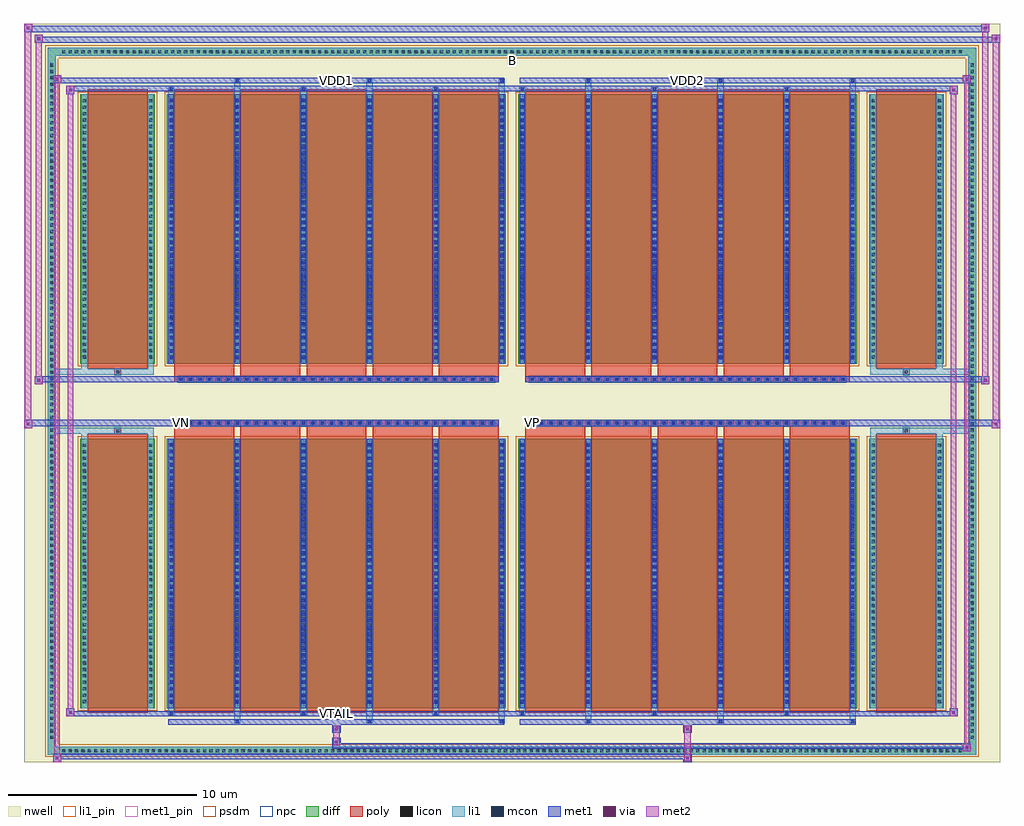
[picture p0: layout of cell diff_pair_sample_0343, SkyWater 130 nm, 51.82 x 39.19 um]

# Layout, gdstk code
import gdstk
lib = gdstk.Library(unit=1e-6, precision=5e-09)
def R(c, l, rs):  # rectangles x0, y0, x1, y1
    for r in rs: c.add(gdstk.rectangle(r[:2], r[2:], *l))
def A(c, l, x, y, w, h, nx, ny, dx, dy):  # array of equal rectangles
    R(c, l, [(x+i*dx, y+j*dy, x+i*dx+w, y+j*dy+h) for i in range(nx) for j in range(ny)])
def P(c, l, *ps):  # polygons
    for p in ps: c.add(gdstk.Polygon(p, *l))
nwell = (64, 20)
diff = (65, 20)
poly = (66, 20)
licon = (66, 44)
li1_pin = (67, 16)
li1 = (67, 20)
mcon = (67, 44)
met1_pin = (68, 16)
met1 = (68, 20)
via = (68, 44)
met2 = (69, 20)
psdm = (94, 20)
npc = (95, 20)

diff_pair_sample_0343 = lib.new_cell('diff_pair_sample_0343')
R(diff_pair_sample_0343, nwell, [(-25.91,-19.16,25.91,20.03), (-23.23,-17.35,-0.01,-0.795), (0.01,-17.35,23.23,-0.795), (-23.23,0.795,-0.01,17.35), (0.01,0.795,23.23,17.35)])
A(diff_pair_sample_0343, diff, -24.005, -18.76, 0.41, 0.41, 141, 2, 0.34, 37.11)
A(diff_pair_sample_0343, diff, -24.64, -18.055, 0.41, 0.41, 1, 106, 0, 0.34)
A(diff_pair_sample_0343, diff, 24.23, -18.055, 0.41, 0.41, 1, 106, 0, 0.34)
R(diff_pair_sample_0343, diff, [(-24.005,-18.76,24.005,-18.35), (-24.64,-18.055,-24.23,18.055), (24.23,-18.055,24.64,18.055), (-22.92,-16.305,-18.96,-1.985), (-18.32,-16.305,-0.32,-1.985), (0.32,-16.305,18.32,-1.985), (18.96,-16.305,22.92,-1.985), (-22.92,1.985,-18.96,16.305), (-18.32,1.985,-0.32,16.305), (0.32,1.985,18.32,16.305), (18.96,1.985,22.92,16.305), (-24.005,18.35,24.005,18.76)])
P(diff_pair_sample_0343, diff, [(24.64,18.76),(-24.64,18.76),(-24.64,-18.35),(-24.23,-18.35),(-24.23,18.35),(24.23,18.35),(24.23,-18.35),(-24.23,-18.35),(-24.64,-18.35),(-24.64,-18.76),(24.64,-18.76)])
A(diff_pair_sample_0343, poly, -17.93, -16.555, 3.18, 14.82, 5, 2, 3.51, 18.29)
A(diff_pair_sample_0343, poly, 0.71, -16.555, 3.18, 14.82, 5, 2, 3.51, 18.29)
A(diff_pair_sample_0343, poly, -17.93, -1.735, 3.18, 0.41, 5, 2, 3.51, 3.06)
A(diff_pair_sample_0343, poly, 0.71, -1.735, 3.18, 0.41, 5, 2, 3.51, 3.06)
A(diff_pair_sample_0343, poly, -17.735, -1.325, 0.33, 0.33, 34, 2, 0.5, 2.32)
A(diff_pair_sample_0343, poly, 0.905, -1.325, 0.33, 0.33, 34, 2, 0.5, 2.32)
R(diff_pair_sample_0343, poly, [(-22.53,-16.555,-19.35,-1.735), (19.35,-16.555,22.53,-1.735), (-21.105,-1.735,-20.775,-1.405), (-21.105,-1.735,-20.775,-1.405), (20.775,-1.735,21.105,-1.405), (20.775,-1.735,21.105,-1.405), (-17.93,-1.325,-0.71,-0.995), (0.71,-1.325,17.93,-0.995), (-17.93,0.995,-0.71,1.325), (0.71,0.995,17.93,1.325), (-21.105,1.405,-20.775,1.735), (-21.105,1.405,-20.775,1.735), (20.775,1.405,21.105,1.735), (20.775,1.405,21.105,1.735), (-22.53,1.735,-19.35,16.555), (19.35,1.735,22.53,16.555)])
A(diff_pair_sample_0343, licon, -23.885, -18.64, 0.17, 0.17, 141, 2, 0.34, 37.11)
A(diff_pair_sample_0343, licon, -24.52, -17.935, 0.17, 0.17, 1, 106, 0, 0.34)
A(diff_pair_sample_0343, licon, 24.35, -17.935, 0.17, 0.17, 1, 106, 0, 0.34)
A(diff_pair_sample_0343, licon, -22.78, -16.03, 0.17, 0.17, 1, 41, 0, 0.34)
A(diff_pair_sample_0343, licon, -19.27, -16.03, 0.17, 0.17, 1, 41, 0, 0.34)
A(diff_pair_sample_0343, licon, -18.18, -16.03, 0.17, 0.17, 6, 41, 3.51, 0.34)
A(diff_pair_sample_0343, licon, 0.46, -16.03, 0.17, 0.17, 6, 41, 3.51, 0.34)
A(diff_pair_sample_0343, licon, 19.1, -16.03, 0.17, 0.17, 1, 41, 0, 0.34)
A(diff_pair_sample_0343, licon, 22.61, -16.03, 0.17, 0.17, 1, 41, 0, 0.34)
A(diff_pair_sample_0343, licon, -17.655, -1.245, 0.17, 0.17, 34, 2, 0.5, 2.32)
A(diff_pair_sample_0343, licon, 0.985, -1.245, 0.17, 0.17, 34, 2, 0.5, 2.32)
A(diff_pair_sample_0343, licon, -22.78, 2.26, 0.17, 0.17, 1, 41, 0, 0.34)
A(diff_pair_sample_0343, licon, -19.27, 2.26, 0.17, 0.17, 1, 41, 0, 0.34)
A(diff_pair_sample_0343, licon, -18.18, 2.26, 0.17, 0.17, 6, 41, 3.51, 0.34)
A(diff_pair_sample_0343, licon, 0.46, 2.26, 0.17, 0.17, 6, 41, 3.51, 0.34)
A(diff_pair_sample_0343, licon, 19.1, 2.26, 0.17, 0.17, 1, 41, 0, 0.34)
A(diff_pair_sample_0343, licon, 22.61, 2.26, 0.17, 0.17, 1, 41, 0, 0.34)
R(diff_pair_sample_0343, licon, [(-21.025,-1.655,-20.855,-1.485), (20.855,-1.655,21.025,-1.485), (-21.025,1.485,-20.855,1.655), (20.855,1.485,21.025,1.655)])
R(diff_pair_sample_0343, li1_pin, [(-0.25,17.85,0.25,18.35)])
A(diff_pair_sample_0343, li1, -23.965, -18.72, 0.33, 0.33, 141, 2, 0.34, 37.11)
A(diff_pair_sample_0343, li1, -24.6, -18.015, 0.33, 0.33, 1, 106, 0, 0.34)
A(diff_pair_sample_0343, li1, 24.27, -18.015, 0.33, 0.33, 1, 106, 0, 0.34)
A(diff_pair_sample_0343, li1, -14.75, -17.11, 0.33, 0.805, 3, 2, 7.02, 33.415)
A(diff_pair_sample_0343, li1, -14.67, -17.11, 0.17, 0.17, 3, 2, 7.02, 34.05)
A(diff_pair_sample_0343, li1, 3.89, -17.11, 0.33, 0.805, 3, 2, 7.02, 33.415)
A(diff_pair_sample_0343, li1, 3.97, -17.11, 0.17, 0.17, 3, 2, 7.02, 34.05)
A(diff_pair_sample_0343, li1, -18.26, -16.68, 0.33, 0.375, 3, 2, 7.02, 32.985)
A(diff_pair_sample_0343, li1, -18.18, -16.68, 0.17, 0.17, 3, 2, 7.02, 33.19)
A(diff_pair_sample_0343, li1, 0.38, -16.68, 0.33, 0.375, 3, 2, 7.02, 32.985)
A(diff_pair_sample_0343, li1, 0.46, -16.68, 0.17, 0.17, 3, 2, 7.02, 33.19)
A(diff_pair_sample_0343, li1, -18.26, -16.305, 0.33, 14.32, 6, 2, 3.51, 18.29)
A(diff_pair_sample_0343, li1, 0.38, -16.305, 0.33, 14.32, 6, 2, 3.51, 18.29)
A(diff_pair_sample_0343, li1, -22.86, -16.11, 0.33, 0.33, 1, 41, 0, 0.34)
A(diff_pair_sample_0343, li1, -19.35, -16.11, 0.33, 0.33, 1, 41, 0, 0.34)
A(diff_pair_sample_0343, li1, -18.26, -16.11, 0.33, 0.33, 6, 41, 3.51, 0.34)
A(diff_pair_sample_0343, li1, 0.38, -16.11, 0.33, 0.33, 6, 41, 3.51, 0.34)
A(diff_pair_sample_0343, li1, 19.02, -16.11, 0.33, 0.33, 1, 41, 0, 0.34)
A(diff_pair_sample_0343, li1, 22.53, -16.11, 0.33, 0.33, 1, 41, 0, 0.34)
A(diff_pair_sample_0343, li1, -18.18, -16.07, 0.17, 0.17, 6, 39, 3.51, 0.36)
A(diff_pair_sample_0343, li1, -18.18, -16.07, 0.17, 13.85, 6, 2, 3.51, 18.29)
A(diff_pair_sample_0343, li1, 0.46, -16.07, 0.17, 0.17, 6, 39, 3.51, 0.36)
A(diff_pair_sample_0343, li1, 0.46, -16.07, 0.17, 13.85, 6, 2, 3.51, 18.29)
A(diff_pair_sample_0343, li1, -17.735, -1.325, 0.33, 0.33, 34, 2, 0.5, 2.32)
A(diff_pair_sample_0343, li1, 0.905, -1.325, 0.33, 0.33, 34, 2, 0.5, 2.32)
A(diff_pair_sample_0343, li1, -22.86, 2.18, 0.33, 0.33, 1, 41, 0, 0.34)
A(diff_pair_sample_0343, li1, -19.35, 2.18, 0.33, 0.33, 1, 41, 0, 0.34)
A(diff_pair_sample_0343, li1, -18.26, 2.18, 0.33, 0.33, 6, 41, 3.51, 0.34)
A(diff_pair_sample_0343, li1, 0.38, 2.18, 0.33, 0.33, 6, 41, 3.51, 0.34)
A(diff_pair_sample_0343, li1, 19.02, 2.18, 0.33, 0.33, 1, 41, 0, 0.34)
A(diff_pair_sample_0343, li1, 22.53, 2.18, 0.33, 0.33, 1, 41, 0, 0.34)
A(diff_pair_sample_0343, li1, -18.18, 2.22, 0.17, 0.17, 6, 39, 3.51, 0.36)
A(diff_pair_sample_0343, li1, 0.46, 2.22, 0.17, 0.17, 6, 39, 3.51, 0.36)
R(diff_pair_sample_0343, li1, [(-24.64,-18.76,-24.23,-18.35), (-24.64,-18.76,-24.23,-18.35), (-24.23,-18.76,24.23,-18.35), (24.23,-18.76,24.64,-18.35), (24.23,-18.76,24.64,-18.35), (-24.64,-18.35,-24.23,18.35), (24.23,-18.35,24.64,18.35), (-22.86,-16.305,-22.53,-1.985), (-19.35,-16.305,-19.02,-1.985), (19.02,-16.305,19.35,-1.985), (22.53,-16.305,22.86,-1.985), (-22.86,-1.985,-22.53,-1.405), (-19.35,-1.985,-19.02,-1.405), (19.02,-1.985,19.35,-1.405), (22.53,-1.985,22.86,-1.405), (-24.64,-1.735,-21.105,-1.405), (-22.86,-1.735,-21.105,-1.405), (-21.105,-1.735,-20.775,-1.405), (-20.775,-1.735,-19.02,-1.405), (19.02,-1.735,20.775,-1.405), (20.775,-1.735,21.105,-1.405), (20.775,-1.735,24.64,-1.405), (21.105,-1.735,22.86,-1.405), (-24.64,1.405,-21.105,1.735), (-22.86,1.405,-21.105,1.735), (-22.86,1.405,-22.53,1.985), (-21.105,1.405,-20.775,1.735), (-20.775,1.405,-19.02,1.735), (-19.35,1.405,-19.02,1.985), (19.02,1.405,20.775,1.735), (19.02,1.405,19.35,1.985), (20.775,1.405,21.105,1.735), (20.775,1.405,24.64,1.735), (21.105,1.405,22.86,1.735), (22.53,1.405,22.86,1.985), (-22.86,1.985,-22.53,16.305), (-19.35,1.985,-19.02,16.305), (19.02,1.985,19.35,16.305), (22.53,1.985,22.86,16.305), (-24.64,18.35,-24.23,18.76), (-24.64,18.35,-24.23,18.76), (-24.23,18.35,24.23,18.76), (24.23,18.35,24.64,18.76), (24.23,18.35,24.64,18.76)])
A(diff_pair_sample_0343, mcon, -14.67, -17.11, 0.17, 0.17, 3, 2, 7.02, 34.05)
A(diff_pair_sample_0343, mcon, 3.97, -17.11, 0.17, 0.17, 3, 2, 7.02, 34.05)
A(diff_pair_sample_0343, mcon, -18.18, -16.68, 0.17, 0.17, 3, 2, 7.02, 33.19)
A(diff_pair_sample_0343, mcon, 0.46, -16.68, 0.17, 0.17, 3, 2, 7.02, 33.19)
A(diff_pair_sample_0343, mcon, -18.18, -16.07, 0.17, 0.17, 6, 39, 3.51, 0.36)
A(diff_pair_sample_0343, mcon, 0.46, -16.07, 0.17, 0.17, 6, 39, 3.51, 0.36)
A(diff_pair_sample_0343, mcon, -17.655, -1.245, 0.17, 0.17, 34, 2, 0.5, 2.32)
A(diff_pair_sample_0343, mcon, 0.985, -1.245, 0.17, 0.17, 34, 2, 0.5, 2.32)
A(diff_pair_sample_0343, mcon, -18.18, 2.22, 0.17, 0.17, 6, 39, 3.51, 0.36)
A(diff_pair_sample_0343, mcon, 0.46, 2.22, 0.17, 0.17, 6, 39, 3.51, 0.36)
R(diff_pair_sample_0343, met1_pin, [(-9.455,-16.72,-9.185,-16.45), (-17.705,-1.285,-17.435,-1.015), (0.935,-1.285,1.205,-1.015), (-9.455,16.9,-9.185,17.17), (9.185,16.9,9.455,17.17)])
A(diff_pair_sample_0343, met1, -14.73, -17.17, 0.29, 0.29, 3, 2, 7.02, 34.05)
A(diff_pair_sample_0343, met1, 3.91, -17.17, 0.29, 0.29, 3, 2, 7.02, 34.05)
A(diff_pair_sample_0343, met1, -18.24, -16.74, 0.29, 0.29, 3, 2, 7.02, 33.19)
A(diff_pair_sample_0343, met1, 0.4, -16.74, 0.29, 0.29, 3, 2, 7.02, 33.19)
A(diff_pair_sample_0343, met1, -18.24, -16.305, 0.29, 14.32, 6, 2, 3.51, 18.29)
A(diff_pair_sample_0343, met1, 0.4, -16.305, 0.29, 14.32, 6, 2, 3.51, 18.29)
A(diff_pair_sample_0343, met1, -18.24, -16.13, 0.29, 0.29, 6, 39, 3.51, 0.36)
A(diff_pair_sample_0343, met1, 0.4, -16.13, 0.29, 0.29, 6, 39, 3.51, 0.36)
A(diff_pair_sample_0343, met1, -17.715, -1.305, 0.29, 0.29, 34, 2, 0.5, 2.32)
A(diff_pair_sample_0343, met1, 0.925, -1.305, 0.29, 0.29, 34, 2, 0.5, 2.32)
A(diff_pair_sample_0343, met1, -18.24, 2.16, 0.29, 0.29, 6, 39, 3.51, 0.36)
A(diff_pair_sample_0343, met1, 0.4, 2.16, 0.29, 0.29, 6, 39, 3.51, 0.36)
R(diff_pair_sample_0343, met1, [(-24.37,-19.16,-23.94,-18.73), (9.105,-19.16,9.535,-18.73), (-24.37,-19.02,9.535,-18.73), (23.94,-18.59,24.37,-18.16), (-9.535,-18.45,24.37,-18.16), (-9.535,-18.31,-9.105,-17.88), (-9.535,-17.6,-9.105,-17.17), (9.105,-17.6,9.535,-17.17), (-18.24,-17.17,-0.4,-16.88), (0.4,-17.17,18.24,-16.88), (-23.66,-16.74,-23.23,-16.31), (-23.66,-16.74,-18.24,-16.45), (-18.24,-16.74,-0.4,-16.45), (-0.4,-16.74,0.4,-16.45), (0.4,-16.74,18.24,-16.45), (18.24,-16.74,23.66,-16.45), (23.23,-16.74,23.66,-16.31), (-25.91,-1.425,-25.48,-0.995), (25.48,-1.425,25.91,-0.995), (-25.91,-1.325,-0.71,-0.995), (-17.93,-1.325,-0.71,-0.995), (0.71,-1.325,17.93,-0.995), (0.71,-1.325,25.91,-0.995), (-25.34,0.895,-24.91,1.325), (24.91,0.895,25.34,1.325), (-25.34,0.995,-17.93,1.325), (-17.93,0.995,-0.71,1.325), (0.71,0.995,17.93,1.325), (17.93,0.995,25.34,1.325), (-23.66,16.31,-23.23,16.74), (23.23,16.31,23.66,16.74), (-23.66,16.45,-18.24,16.74), (-18.24,16.45,-0.4,16.74), (-0.4,16.45,0.4,16.74), (0.4,16.45,18.24,16.74), (18.24,16.45,23.66,16.74), (-24.37,16.88,-23.94,17.31), (-24.37,16.88,-18.24,17.17), (-18.24,16.88,-0.4,17.17), (0.4,16.88,18.24,17.17), (18.24,16.88,24.37,17.17), (23.94,16.88,24.37,17.31), (-25.34,19.03,-24.91,19.46), (-25.34,19.03,-23.23,19.36), (-23.23,19.03,23.23,19.36), (23.23,19.03,25.91,19.36), (25.48,19.03,25.91,19.46), (-25.91,19.6,-25.48,20.03), (-25.91,19.6,-23.23,19.93), (-23.23,19.6,23.23,19.93), (23.23,19.6,25.34,19.93), (24.91,19.6,25.34,20.03)])
R(diff_pair_sample_0343, via, [(-24.23,-19.02,-24.08,-18.87), (9.245,-19.02,9.395,-18.87), (24.08,-18.45,24.23,-18.3), (-9.395,-18.17,-9.245,-18.02), (-9.395,-17.46,-9.245,-17.31), (9.245,-17.46,9.395,-17.31), (-23.52,-16.6,-23.37,-16.45), (23.37,-16.6,23.52,-16.45), (-25.77,-1.285,-25.62,-1.135), (25.62,-1.285,25.77,-1.135), (-25.2,1.035,-25.05,1.185), (25.05,1.035,25.2,1.185), (-23.52,16.45,-23.37,16.6), (23.37,16.45,23.52,16.6), (-24.23,17.02,-24.08,17.17), (24.08,17.02,24.23,17.17), (-25.2,19.17,-25.05,19.32), (25.62,19.17,25.77,19.32), (-25.77,19.74,-25.62,19.89), (25.05,19.74,25.2,19.89)])
R(diff_pair_sample_0343, met2, [(-24.37,-19.16,-23.94,-18.73), (-24.3,-19.16,-24.01,17.31), (-24.01,-19.16,-23.94,-18.73), (-24.32,-19.11,-23.99,-18.78), (9.155,-19.11,9.485,-18.78), (9.155,-18.78,9.485,-17.55), (23.94,-18.59,24.37,-18.16), (24.01,-18.59,24.3,17.31), (24.3,-18.59,24.37,-18.16), (23.99,-18.54,24.32,-18.21), (-9.485,-18.26,-9.155,-17.93), (-9.485,-17.93,-9.155,-17.55), (-9.485,-17.55,-9.155,-17.22), (9.155,-17.55,9.485,-17.22), (-23.66,-16.74,-23.23,-16.31), (-23.59,-16.74,-23.3,16.74), (-23.3,-16.74,-23.23,-16.31), (23.23,-16.74,23.66,-16.31), (23.3,-16.74,23.59,16.74), (23.59,-16.74,23.66,-16.31), (-23.61,-16.69,-23.28,-16.36), (23.28,-16.69,23.61,-16.36), (-25.91,-1.425,-25.48,-0.995), (-25.86,-1.425,-25.53,20.03), (-25.53,-1.425,-25.48,-0.995), (25.48,-1.425,25.91,-0.995), (25.53,-1.425,25.86,19.46), (25.86,-1.425,25.91,-0.995), (-25.86,-1.375,-25.53,-1.045), (25.53,-1.375,25.86,-1.045), (-25.34,0.895,-24.91,1.325), (-25.29,0.895,-24.96,19.46), (-24.96,0.895,-24.91,1.325), (24.91,0.895,25.34,1.325), (24.96,0.895,25.29,20.03), (25.29,0.895,25.34,1.325), (-25.29,0.945,-24.96,1.275), (24.96,0.945,25.29,1.275), (-23.66,16.31,-23.23,16.74), (-23.3,16.31,-23.23,16.74), (23.23,16.31,23.66,16.74), (23.59,16.31,23.66,16.74), (-23.61,16.36,-23.28,16.69), (23.28,16.36,23.61,16.69), (-24.37,16.88,-23.94,17.31), (-24.01,16.88,-23.94,17.31), (23.94,16.88,24.37,17.31), (24.3,16.88,24.37,17.31), (-24.32,16.93,-23.99,17.26), (23.99,16.93,24.32,17.26), (-25.34,19.03,-24.91,19.46), (-24.96,19.03,-24.91,19.46), (25.48,19.03,25.91,19.46), (25.86,19.03,25.91,19.46), (-25.29,19.08,-24.96,19.41), (25.53,19.08,25.86,19.41), (-25.91,19.6,-25.48,20.03), (-25.53,19.6,-25.48,20.03), (24.91,19.6,25.34,20.03), (25.29,19.6,25.34,20.03), (-25.86,19.65,-25.53,19.98), (24.96,19.65,25.29,19.98)])
R(diff_pair_sample_0343, psdm, [(-23.05,-16.435,-18.83,-1.855), (-18.45,-16.435,-0.19,-1.855), (0.19,-16.435,18.45,-1.855), (18.83,-16.435,23.05,-1.855), (-23.05,1.855,-18.83,16.435), (-18.45,1.855,-0.19,16.435), (0.19,1.855,18.45,16.435), (18.83,1.855,23.05,16.435)])
P(diff_pair_sample_0343, psdm, [(24.77,18.89),(-24.77,18.89),(-24.77,-18.22),(-24.1,-18.22),(-24.1,18.22),(24.1,18.22),(24.1,-18.22),(-24.1,-18.22),(-24.77,-18.22),(-24.77,-18.89),(24.77,-18.89)])
A(diff_pair_sample_0343, npc, -17.755, -1.345, 0.37, 0.37, 34, 2, 0.5, 2.32)
A(diff_pair_sample_0343, npc, 0.885, -1.345, 0.37, 0.37, 34, 2, 0.5, 2.32)
R(diff_pair_sample_0343, npc, [(-21.125,-1.755,-20.755,-1.385), (20.755,-1.755,21.125,-1.385), (-17.755,-1.345,-16.885,-0.975), (-17.755,-1.345,-16.885,-0.975), (-17.255,-1.345,-16.385,-0.975), (-17.255,-1.345,-16.385,-0.975), (-16.755,-1.345,-15.885,-0.975), (-16.755,-1.345,-15.885,-0.975), (-16.255,-1.345,-15.385,-0.975), (-16.255,-1.345,-15.385,-0.975), (-15.755,-1.345,-14.885,-0.975), (-15.755,-1.345,-14.885,-0.975), (-15.255,-1.345,-14.385,-0.975), (-15.255,-1.345,-14.385,-0.975), (-14.755,-1.345,-13.885,-0.975), (-14.755,-1.345,-13.885,-0.975), (-14.255,-1.345,-13.385,-0.975), (-14.255,-1.345,-13.385,-0.975), (-13.755,-1.345,-12.885,-0.975), (-13.755,-1.345,-12.885,-0.975), (-13.255,-1.345,-12.385,-0.975), (-13.255,-1.345,-12.385,-0.975), (-12.755,-1.345,-11.885,-0.975), (-12.755,-1.345,-11.885,-0.975), (-12.255,-1.345,-11.385,-0.975), (-12.255,-1.345,-11.385,-0.975), (-11.755,-1.345,-10.885,-0.975), (-11.755,-1.345,-10.885,-0.975), (-11.255,-1.345,-10.385,-0.975), (-11.255,-1.345,-10.385,-0.975), (-10.755,-1.345,-9.885,-0.975), (-10.755,-1.345,-9.885,-0.975), (-10.255,-1.345,-9.385,-0.975), (-10.255,-1.345,-9.385,-0.975), (-9.755,-1.345,-8.885,-0.975), (-9.755,-1.345,-8.885,-0.975), (-9.255,-1.345,-8.385,-0.975), (-9.255,-1.345,-8.385,-0.975), (-8.755,-1.345,-7.885,-0.975), (-8.755,-1.345,-7.885,-0.975), (-8.255,-1.345,-7.385,-0.975), (-8.255,-1.345,-7.385,-0.975), (-7.755,-1.345,-6.885,-0.975), (-7.755,-1.345,-6.885,-0.975), (-7.255,-1.345,-6.385,-0.975), (-7.255,-1.345,-6.385,-0.975), (-6.755,-1.345,-5.885,-0.975), (-6.755,-1.345,-5.885,-0.975), (-6.255,-1.345,-5.385,-0.975), (-6.255,-1.345,-5.385,-0.975), (-5.755,-1.345,-4.885,-0.975), (-5.755,-1.345,-4.885,-0.975), (-5.255,-1.345,-4.385,-0.975), (-5.255,-1.345,-4.385,-0.975), (-4.755,-1.345,-3.885,-0.975), (-4.755,-1.345,-3.885,-0.975), (-4.255,-1.345,-3.385,-0.975), (-4.255,-1.345,-3.385,-0.975), (-3.755,-1.345,-2.885,-0.975), (-3.755,-1.345,-2.885,-0.975), (-3.255,-1.345,-2.385,-0.975), (-3.255,-1.345,-2.385,-0.975), (-2.755,-1.345,-1.885,-0.975), (-2.755,-1.345,-1.885,-0.975), (-2.255,-1.345,-1.385,-0.975), (-2.255,-1.345,-1.385,-0.975), (-1.755,-1.345,-0.885,-0.975), (-1.755,-1.345,-0.885,-0.975), (0.885,-1.345,1.755,-0.975), (0.885,-1.345,1.755,-0.975), (1.385,-1.345,2.255,-0.975), (1.385,-1.345,2.255,-0.975), (1.885,-1.345,2.755,-0.975), (1.885,-1.345,2.755,-0.975), (2.385,-1.345,3.255,-0.975), (2.385,-1.345,3.255,-0.975), (2.885,-1.345,3.755,-0.975), (2.885,-1.345,3.755,-0.975), (3.385,-1.345,4.255,-0.975), (3.385,-1.345,4.255,-0.975), (3.885,-1.345,4.755,-0.975), (3.885,-1.345,4.755,-0.975), (4.385,-1.345,5.255,-0.975), (4.385,-1.345,5.255,-0.975), (4.885,-1.345,5.755,-0.975), (4.885,-1.345,5.755,-0.975), (5.385,-1.345,6.255,-0.975), (5.385,-1.345,6.255,-0.975), (5.885,-1.345,6.755,-0.975), (5.885,-1.345,6.755,-0.975), (6.385,-1.345,7.255,-0.975), (6.385,-1.345,7.255,-0.975), (6.885,-1.345,7.755,-0.975), (6.885,-1.345,7.755,-0.975), (7.385,-1.345,8.255,-0.975), (7.385,-1.345,8.255,-0.975), (7.885,-1.345,8.755,-0.975), (7.885,-1.345,8.755,-0.975), (8.385,-1.345,9.255,-0.975), (8.385,-1.345,9.255,-0.975), (8.885,-1.345,9.755,-0.975), (8.885,-1.345,9.755,-0.975), (9.385,-1.345,10.255,-0.975), (9.385,-1.345,10.255,-0.975), (9.885,-1.345,10.755,-0.975), (9.885,-1.345,10.755,-0.975), (10.385,-1.345,11.255,-0.975), (10.385,-1.345,11.255,-0.975), (10.885,-1.345,11.755,-0.975), (10.885,-1.345,11.755,-0.975), (11.385,-1.345,12.255,-0.975), (11.385,-1.345,12.255,-0.975), (11.885,-1.345,12.755,-0.975), (11.885,-1.345,12.755,-0.975), (12.385,-1.345,13.255,-0.975), (12.385,-1.345,13.255,-0.975), (12.885,-1.345,13.755,-0.975), (12.885,-1.345,13.755,-0.975), (13.385,-1.345,14.255,-0.975), (13.385,-1.345,14.255,-0.975), (13.885,-1.345,14.755,-0.975), (13.885,-1.345,14.755,-0.975), (14.385,-1.345,15.255,-0.975), (14.385,-1.345,15.255,-0.975), (14.885,-1.345,15.755,-0.975), (14.885,-1.345,15.755,-0.975), (15.385,-1.345,16.255,-0.975), (15.385,-1.345,16.255,-0.975), (15.885,-1.345,16.755,-0.975), (15.885,-1.345,16.755,-0.975), (16.385,-1.345,17.255,-0.975), (16.385,-1.345,17.255,-0.975), (16.885,-1.345,17.755,-0.975), (16.885,-1.345,17.755,-0.975), (-17.755,0.975,-16.885,1.345), (-17.755,0.975,-16.885,1.345), (-17.255,0.975,-16.385,1.345), (-17.255,0.975,-16.385,1.345), (-16.755,0.975,-15.885,1.345), (-16.755,0.975,-15.885,1.345), (-16.255,0.975,-15.385,1.345), (-16.255,0.975,-15.385,1.345), (-15.755,0.975,-14.885,1.345), (-15.755,0.975,-14.885,1.345), (-15.255,0.975,-14.385,1.345), (-15.255,0.975,-14.385,1.345), (-14.755,0.975,-13.885,1.345), (-14.755,0.975,-13.885,1.345), (-14.255,0.975,-13.385,1.345), (-14.255,0.975,-13.385,1.345), (-13.755,0.975,-12.885,1.345), (-13.755,0.975,-12.885,1.345), (-13.255,0.975,-12.385,1.345), (-13.255,0.975,-12.385,1.345), (-12.755,0.975,-11.885,1.345), (-12.755,0.975,-11.885,1.345), (-12.255,0.975,-11.385,1.345), (-12.255,0.975,-11.385,1.345), (-11.755,0.975,-10.885,1.345), (-11.755,0.975,-10.885,1.345), (-11.255,0.975,-10.385,1.345), (-11.255,0.975,-10.385,1.345), (-10.755,0.975,-9.885,1.345), (-10.755,0.975,-9.885,1.345), (-10.255,0.975,-9.385,1.345), (-10.255,0.975,-9.385,1.345), (-9.755,0.975,-8.885,1.345), (-9.755,0.975,-8.885,1.345), (-9.255,0.975,-8.385,1.345), (-9.255,0.975,-8.385,1.345), (-8.755,0.975,-7.885,1.345), (-8.755,0.975,-7.885,1.345), (-8.255,0.975,-7.385,1.345), (-8.255,0.975,-7.385,1.345), (-7.755,0.975,-6.885,1.345), (-7.755,0.975,-6.885,1.345), (-7.255,0.975,-6.385,1.345), (-7.255,0.975,-6.385,1.345), (-6.755,0.975,-5.885,1.345), (-6.755,0.975,-5.885,1.345), (-6.255,0.975,-5.385,1.345), (-6.255,0.975,-5.385,1.345), (-5.755,0.975,-4.885,1.345), (-5.755,0.975,-4.885,1.345), (-5.255,0.975,-4.385,1.345), (-5.255,0.975,-4.385,1.345), (-4.755,0.975,-3.885,1.345), (-4.755,0.975,-3.885,1.345), (-4.255,0.975,-3.385,1.345), (-4.255,0.975,-3.385,1.345), (-3.755,0.975,-2.885,1.345), (-3.755,0.975,-2.885,1.345), (-3.255,0.975,-2.385,1.345), (-3.255,0.975,-2.385,1.345), (-2.755,0.975,-1.885,1.345), (-2.755,0.975,-1.885,1.345), (-2.255,0.975,-1.385,1.345), (-2.255,0.975,-1.385,1.345), (-1.755,0.975,-0.885,1.345), (-1.755,0.975,-0.885,1.345), (0.885,0.975,1.755,1.345), (0.885,0.975,1.755,1.345), (1.385,0.975,2.255,1.345), (1.385,0.975,2.255,1.345), (1.885,0.975,2.755,1.345), (1.885,0.975,2.755,1.345), (2.385,0.975,3.255,1.345), (2.385,0.975,3.255,1.345), (2.885,0.975,3.755,1.345), (2.885,0.975,3.755,1.345), (3.385,0.975,4.255,1.345), (3.385,0.975,4.255,1.345), (3.885,0.975,4.755,1.345), (3.885,0.975,4.755,1.345), (4.385,0.975,5.255,1.345), (4.385,0.975,5.255,1.345), (4.885,0.975,5.755,1.345), (4.885,0.975,5.755,1.345), (5.385,0.975,6.255,1.345), (5.385,0.975,6.255,1.345), (5.885,0.975,6.755,1.345), (5.885,0.975,6.755,1.345), (6.385,0.975,7.255,1.345), (6.385,0.975,7.255,1.345), (6.885,0.975,7.755,1.345), (6.885,0.975,7.755,1.345), (7.385,0.975,8.255,1.345), (7.385,0.975,8.255,1.345), (7.885,0.975,8.755,1.345), (7.885,0.975,8.755,1.345), (8.385,0.975,9.255,1.345), (8.385,0.975,9.255,1.345), (8.885,0.975,9.755,1.345), (8.885,0.975,9.755,1.345), (9.385,0.975,10.255,1.345), (9.385,0.975,10.255,1.345), (9.885,0.975,10.755,1.345), (9.885,0.975,10.755,1.345), (10.385,0.975,11.255,1.345), (10.385,0.975,11.255,1.345), (10.885,0.975,11.755,1.345), (10.885,0.975,11.755,1.345), (11.385,0.975,12.255,1.345), (11.385,0.975,12.255,1.345), (11.885,0.975,12.755,1.345), (11.885,0.975,12.755,1.345), (12.385,0.975,13.255,1.345), (12.385,0.975,13.255,1.345), (12.885,0.975,13.755,1.345), (12.885,0.975,13.755,1.345), (13.385,0.975,14.255,1.345), (13.385,0.975,14.255,1.345), (13.885,0.975,14.755,1.345), (13.885,0.975,14.755,1.345), (14.385,0.975,15.255,1.345), (14.385,0.975,15.255,1.345), (14.885,0.975,15.755,1.345), (14.885,0.975,15.755,1.345), (15.385,0.975,16.255,1.345), (15.385,0.975,16.255,1.345), (15.885,0.975,16.755,1.345), (15.885,0.975,16.755,1.345), (16.385,0.975,17.255,1.345), (16.385,0.975,17.255,1.345), (16.885,0.975,17.755,1.345), (16.885,0.975,17.755,1.345), (-21.125,1.385,-20.755,1.755), (20.755,1.385,21.125,1.755)])
diff_pair_sample_0343.add(gdstk.Label('VTAIL', (-9.32,-16.585), layer=68, texttype=5))
diff_pair_sample_0343.add(gdstk.Label('VN', (-17.57,-1.15), layer=68, texttype=5))
diff_pair_sample_0343.add(gdstk.Label('VP', (1.07,-1.15), layer=68, texttype=5))
diff_pair_sample_0343.add(gdstk.Label('B', (0,18.1), layer=67, texttype=5))
diff_pair_sample_0343.add(gdstk.Label('VDD2', (9.32,17.035), layer=68, texttype=5))
diff_pair_sample_0343.add(gdstk.Label('VDD1', (-9.32,17.035), layer=68, texttype=5))

lib.write_gds('diff_pair_sample_0343.gds')
